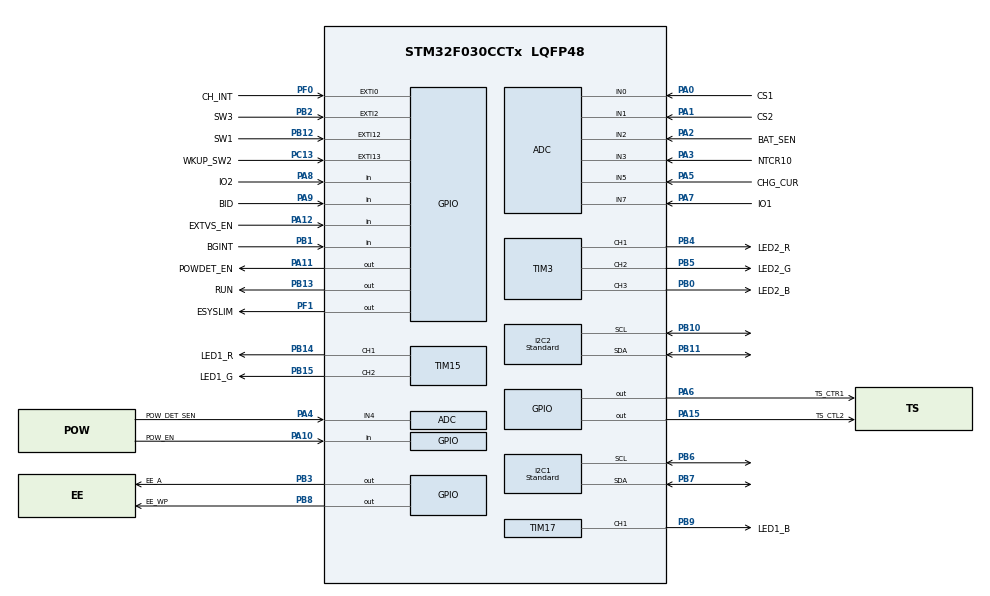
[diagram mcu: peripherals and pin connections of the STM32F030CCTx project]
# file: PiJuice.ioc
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VP_TIM17_VS_ClockSourceINT.Mode=Enable_Timer
I2C1.I2C_Speed_Mode=I2C_Standard
PF1-OSC_OUT.GPIO_ModeDefaultOutputPP=GPIO_MODE_OUTPUT_OD
PB10.Mode=I2C
Dma.I2C1_TX.4.PeriphInc=DMA_PINC_DISABLE
PB14.GPIO_Label=LED1_R
I2C1.I2C_Rise_Time=0
VP_RTC_VS_RTC_Activate.Mode=RTC_Enabled
PA6.GPIO_Label=TS_CTR1
PB13.Signal=GPIO_Output
Dma.I2C1_RX.3.Priority=DMA_PRIORITY_LOW
NVIC.RTC_IRQn=true\:0\:0\:false\:false\:true\:true\:true
NVIC.I2C1_IRQn=true\:0\:0\:false\:false\:false\:true\:false
PA4.Mode=IN4
PF0-OSC_IN.GPIO_PuPd=GPIO_PULLUP
I2C2.I2C_Speed_Mode=I2C_Standard
PB6.Signal=I2C1_SCL
PB6.Mode=I2C
Dma.I2C2_TX.2.Direction=DMA_MEMORY_TO_PERIPH
Dma.I2C1_RX.3.Mode=DMA_NORMAL
ADC.SamplingTime=ADC_SAMPLETIME_71CYCLES_5
Dma.I2C2_RX.1.Mode=DMA_NORMAL
Dma.I2C2_TX.2.Priority=DMA_PRIORITY_LOW
PF0-OSC_IN.GPIO_Label=CH_INT
PB2.Signal=GPXTI2
TIM17.Channel=TIM_CHANNEL_1
RCC.RTCClockSelection=RCC_RTCCLKSOURCE_LSE
PB12.GPIO_Label=SW1
TIM15.Channel-PWM\ Generation2\ CH2=TIM_CHANNEL_2
PB1.GPIO_Label=BGINT
PA0.Mode=IN0
PA8.Signal=GPIO_Input
PB2.GPIO_PuPd=GPIO_PULLDOWN
PA0.Signal=ADC_IN0
Mcu.Package=LQFP48
PB9.Signal=S_TIM17_CH1
PB1.Signal=GPIO_Input
I2C2.I2C_Fall_Time=0
I2C2.I2C_Rise_Time=0
PA10.Signal=GPIO_Input
VP_RTC_VS_RTC_Calendar.Mode=RTC_Calendar
Dma.I2C2_RX.1.PeriphInc=DMA_PINC_DISABLE
Dma.I2C2_RX.1.MemDataAlignment=DMA_MDATAALIGN_BYTE
Dma.I2C2_TX.2.Instance=DMA1_Channel4
PA4.GPIO_Label=POW_DET_SEN
PF1-OSC_OUT.Signal=GPIO_Output
NVIC.EXTI4_15_IRQn=true\:3\:0\:true\:false\:true\:true\:true
Dma.I2C1_RX.3.MemDataAlignment=DMA_MDATAALIGN_BYTE
TIM15.Channel-PWM\ Generation1\ CH1=TIM_CHANNEL_1
PA5.Mode=IN5
Dma.I2C1_TX.4.Priority=DMA_PRIORITY_LOW
Dma.I2C2_TX.2.MemDataAlignment=DMA_MDATAALIGN_BYTE
I2C2.I2C_Coeff_DF=0
VP_ADC_TempSens_Input.Mode=IN-TempSens
I2C1.I2C_Fall_Time=0
PC13.Signal=GPXTI13
PA9.GPIO_Label=BID
PA11.GPIO_Label=POWDET_EN
ADC.ClockPrescaler=ADC_CLOCK_ASYNC_DIV1
ADC.EnableAnalogWatchDog=true
PA3.Mode=IN3
TIM3.Channel-PWM\ Generation3\ CH3=TIM_CHANNEL_3
PB8.GPIO_Label=EE_WP
PA8.GPIO_Label=IO2
PB11.Mode=I2C
PA9.Signal=GPIO_Input
PB10.Signal=I2C2_SCL
PB14.Signal=S_TIM15_CH1
Dma.I2C2_RX.1.Instance=DMA1_Channel5
PA5.Signal=ADC_IN5
SH.S_TIM15_CH1.0=TIM15_CH1,PWM Generation1 CH1
NVIC.EXTI2_3_IRQn=true\:3\:0\:true\:false\:true\:true\:true
PA1.Mode=IN1
PB13.PinState=GPIO_PIN_SET
Dma.I2C2_RX.1.Direction=DMA_PERIPH_TO_MEMORY
PB4.GPIO_Label=LED2_R
PB15.GPIO_Label=LED1_G
PF1-OSC_OUT.GPIO_Label=ESYSLIM
PA1.GPIO_Label=CS2
ADC.EOCSelection=ADC_EOC_SEQ_CONV
PA13.Mode=Serial_Wire
PA4.Signal=ADC_IN4
PB5.Signal=S_TIM3_CH2
PA5.GPIO_Label=CHG_CUR
PA11.Signal=GPIO_Output
ProjectManager.HeapSize=0x200
SH.S_TIM17_CH1.0=TIM17_CH1,PWM Generation1 CH1
TIM3.Channel-PWM\ Generation2\ CH2=TIM_CHANNEL_2
PF0-OSC_IN.Signal=GPXTI0
PB12.GPIO_PuPd=GPIO_PULLDOWN
PB0.Signal=S_TIM3_CH3
IWDG.Window=0xFFF
Mcu.Family=STM32F0
Dma.I2C1_RX.3.Direction=DMA_PERIPH_TO_MEMORY
Dma.ADC.0.Mode=DMA_CIRCULAR
PC15OSC32_OUT.Signal=RCC_OSC32_OUT
VP_IWDG_VS_IWDG.Mode=IWDG_Activate
PA0.GPIO_Label=CS1
Dma.ADC.0.Priority=DMA_PRIORITY_LOW
PB0.GPIO_Label=LED2_B
PC13.GPIO_Label=WKUP_SW2
PC15OSC32_OUT.Mode=LSE-External-Oscillator
PB13.GPIO_Label=RUN
PB11.Signal=I2C2_SDA
PB15.Signal=S_TIM15_CH2
VP_RTC_VS_RTC_Alarm_A_Intern.Mode=Alarm A
ProjectManager.StackSize=0x400
SH.S_TIM15_CH2.0=TIM15_CH2,PWM Generation2 CH2
Dma.I2C1_TX.4.PeriphDataAlignment=DMA_PDATAALIGN_BYTE
PA15.GPIO_Label=TS_CTL2
PA12.Signal=GPIO_Input
Dma.ADC.0.PeriphInc=DMA_PINC_DISABLE
PB1.GPIO_PuPd=GPIO_NOPULL
Dma.I2C2_RX.1.MemInc=DMA_MINC_ENABLE
PB13.GPIO_ModeDefaultOutputPP=GPIO_MODE_OUTPUT_OD
Dma.ADC.0.Direction=DMA_PERIPH_TO_MEMORY
TIM3.Channel-PWM\ Generation1\ CH1=TIM_CHANNEL_1
Dma.I2C2_TX.2.MemInc=DMA_MINC_ENABLE
PA14.Mode=Serial_Wire
PA10.GPIO_Label=POW_EN
PC13.GPIO_PuPd=GPIO_PULLDOWN
PB7.Signal=I2C1_SDA
SH.S_TIM3_CH1.0=TIM3_CH1,PWM Generation1 CH1
TIM6.Period=1000 - 1
Dma.ADC.0.MemInc=DMA_MINC_ENABLE
PC14OSC32_IN.Mode=LSE-External-Oscillator
Dma.I2C1_RX.3.PeriphInc=DMA_PINC_DISABLE
PA6.Signal=GPIO_Output
Dma.ADC.0.Instance=DMA1_Channel1
PA2.GPIO_Label=BAT_SEN
IWDG.Reload=1300
PA15.Signal=GPIO_Output
Dma.ADC.0.MemDataAlignment=DMA_MDATAALIGN_HALFWORD
PB5.GPIO_Label=LED2_G
Dma.Request2=I2C2_TX
Dma.Request1=I2C2_RX
Dma.Request4=I2C1_TX
Dma.Request3=I2C1_RX
Dma.Request0=ADC
PC14OSC32_IN.Signal=RCC_OSC32_IN
PB4.Signal=S_TIM3_CH1
PA3.Signal=ADC_IN3
PB3.GPIO_Label=EE_A
I2C1.Speed=100
Dma.I2C1_TX.4.MemDataAlignment=DMA_MDATAALIGN_BYTE
PA7.Mode=IN7
PB9.GPIO_Label=LED1_B
VP_ADC_Vref_Input.Mode=IN-Vrefint
TIM6.Prescaler=8 - 1
VP_TIM6_VS_ClockSourceINT.Mode=Enable_Timer
Dma.I2C2_TX.2.Mode=DMA_NORMAL
Dma.I2C1_RX.3.PeriphDataAlignment=DMA_PDATAALIGN_BYTE
SH.S_TIM3_CH3.0=TIM3_CH3,PWM Generation3 CH3
PA12.GPIO_Label=EXTVS_EN
Dma.ADC.0.PeriphDataAlignment=DMA_PDATAALIGN_HALFWORD
NVIC.TIM6_IRQn=true\:2\:0\:true\:false\:false\:true\:false
I2C1.DualAddressMode=I2C_DUALADDRESS_ENABLE
PA13.Signal=SYS_SWDIO
Dma.I2C1_TX.4.Mode=DMA_NORMAL
Dma.I2C2_TX.2.PeriphDataAlignment=DMA_PDATAALIGN_BYTE
ProjectManager.TargetToolchain=STM32CubeIDE
NVIC.I2C2_IRQn=true\:0\:0\:false\:false\:false\:true\:false
PA1.Signal=ADC_IN1
Dma.I2C2_RX.1.PeriphDataAlignment=DMA_PDATAALIGN_BYTE
SH.S_TIM3_CH2.0=TIM3_CH2,PWM Generation2 CH2
ADC.DMAContinuousRequests=ENABLE
board=custom
Dma.I2C2_TX.2.PeriphInc=DMA_PINC_DISABLE
Dma.I2C1_TX.4.MemInc=DMA_MINC_ENABLE
PF0-OSC_IN.GPIO_ModeDefaultEXTI=GPIO_MODE_IT_FALLING
Dma.I2C1_TX.4.Instance=DMA1_Channel2
I2C2.Speed=100
Mcu.Name=STM32F030CCTx
RTC.Alarm-Alarm\ A=RTC_ALARM_A
Dma.I2C1_RX.3.Instance=DMA1_Channel3
Dma.I2C1_TX.4.Direction=DMA_MEMORY_TO_PERIPH
PA2.Signal=ADC_IN2
PB3.Signal=GPIO_Output
PA7.GPIO_Label=IO1
PB7.Mode=I2C
PA14.Signal=SYS_SWCLK
PB2.GPIO_Label=SW3
VP_RTC_VS_RTC_WakeUp_intern.Mode=WakeUp
Dma.I2C1_RX.3.MemInc=DMA_MINC_ENABLE
IWDG.Prescaler=IWDG_PRESCALER_256
PA2.Mode=IN2
PB8.Signal=GPIO_Output
Dma.I2C2_RX.1.Priority=DMA_PRIORITY_LOW
PB12.Signal=GPXTI12
PA3.GPIO_Label=NTCR10
PA7.Signal=ADC_IN7
NVIC.EXTI0_1_IRQn=true\:3\:0\:true\:false\:true\:true\:true

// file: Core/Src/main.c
/* USER CODE BEGIN Header */
/**
  ******************************************************************************
  * @file           : main.c
  * @brief          : Main program body
  ******************************************************************************
  * @attention
  *
  * <h2><center>&copy; Copyright (c) 2021 STMicroelectronics.
  * All rights reserved.</center></h2>
  *
  * This software component is licensed by ST under BSD 3-Clause license,
  * the "License"; You may not use this file except in compliance with the
  * License. You may obtain a copy of the License at:
  *                        opensource.org/licenses/BSD-3-Clause
  *
  ******************************************************************************
  */
/* USER CODE END Header */
#include "main.h"

/* USER CODE BEGIN Includes */
#include "system_conf.h"

#include "osloop.h"
#include "taskman.h"

#include "execution.h"

#include "nv.h"
#include "eeprom.h"

#include "adc.h"
/* USER CODE END Includes */

/* USER CODE BEGIN PD */

//#define DEBUGGING

/* USER CODE END PD */

ADC_HandleTypeDef hadc;
DMA_HandleTypeDef hdma_adc;

I2C_HandleTypeDef hi2c1;
I2C_HandleTypeDef hi2c2;
DMA_HandleTypeDef hdma_i2c1_rx;
DMA_HandleTypeDef hdma_i2c1_tx;
DMA_HandleTypeDef hdma_i2c2_rx;
DMA_HandleTypeDef hdma_i2c2_tx;

IWDG_HandleTypeDef hiwdg;

RTC_HandleTypeDef hrtc;

TIM_HandleTypeDef htim3;
TIM_HandleTypeDef htim6;
TIM_HandleTypeDef htim15;
TIM_HandleTypeDef htim17;

/* USER CODE BEGIN PV */

EXECUTION_State_t executionState;

/* USER CODE END PV */

void SystemClock_Config(void);
static void MX_GPIO_Init(void);
static void MX_DMA_Init(void);
static void MX_ADC_Init(void);
static void MX_RTC_Init(void);
static void MX_TIM6_Init(void);
static void MX_TIM3_Init(void);
static void MX_TIM15_Init(void);
static void MX_TIM17_Init(void);
static void MX_I2C2_Init(void);
static void MX_I2C1_Init(void);
static void MX_IWDG_Init(void);

/* USER CODE BEGIN 0 */
#include "util.h"
/* USER CODE END 0 */

int main(void)
{
  /* USER CODE BEGIN 1 */

	if ( (executionState != EXECUTION_STATE_NORMAL) &&
			(executionState != EXECUTION_STATE_UPDATE) &&
			(executionState != EXECUTION_STATE_CONFIG_RESET) )
	{
		if (__HAL_RCC_GET_FLAG(RCC_FLAG_PORRST))
		{
			executionState = EXECUTION_STATE_POWER_RESET;
		}
		else
		{
			// updating from old firmware without executionState defined
			executionState = EXECUTION_STATE_UPDATE;
		}
	}

	__HAL_RCC_CLEAR_RESET_FLAGS();
	__HAL_FLASH_PREFETCH_BUFFER_ENABLE();

  /* USER CODE END 1 */

  /* MCU Configuration--------------------------------------------------------*/

  /* Reset of all peripherals, Initializes the Flash interface and the Systick. */
  HAL_Init();

  /* USER CODE BEGIN Init */

	NV_Init();

  /* USER CODE END Init */

  /* Configure the system clock */
  SystemClock_Config();

  /* Initialize all configured peripherals */
  MX_GPIO_Init();
  MX_DMA_Init();
  MX_ADC_Init();
  MX_RTC_Init();
  MX_TIM6_Init();
  MX_TIM3_Init();
  MX_TIM15_Init();
  MX_TIM17_Init();
  MX_I2C2_Init();
  MX_I2C1_Init();
  MX_IWDG_Init();
  /* USER CODE BEGIN 2 */

	if ( (HAL_GPIO_ReadPin(IODRV_PIN_POW_EN_GPIO, IODRV_PIN_POW_EN_PIN_Pos) == GPIO_PIN_RESET) &&
			(executionState == EXECUTION_STATE_POWER_RESET)
			)
	{
		executionState = EXECUTION_STATE_POWER_ON;
	}

#ifdef DEBUGGING
	// For debugging.
	executionState = EXECUTION_STATE_POWER_RESET;
#endif

	OSLOOP_Init();

	// Wait for the adc to become ready
	while (false == ADC_GetFilterReady())
	{
		asm volatile ("nop");
	}

	TASKMAN_Init();

  /* USER CODE END 2 */

  /* Infinite loop */
  /* USER CODE BEGIN WHILE */

	executionState = EXECUTION_STATE_NORMAL; // after initialization indicate it for future wd resets

	TASKMAN_Run();

  while (1)
  {
    /* USER CODE END WHILE */

  }
}

void SystemClock_Config(void)
{
  RCC_OscInitTypeDef RCC_OscInitStruct = {0};
  RCC_ClkInitTypeDef RCC_ClkInitStruct = {0};
  RCC_PeriphCLKInitTypeDef PeriphClkInit = {0};

  /** Configure LSE Drive Capability
  */
  HAL_PWR_EnableBkUpAccess();
  __HAL_RCC_LSEDRIVE_CONFIG(RCC_LSEDRIVE_HIGH);
  /** Initializes the RCC Oscillators according to the specified parameters
  * in the RCC_OscInitTypeDef structure.
  */
  RCC_OscInitStruct.OscillatorType = RCC_OSCILLATORTYPE_HSI|RCC_OSCILLATORTYPE_HSI14
                              |RCC_OSCILLATORTYPE_LSI|RCC_OSCILLATORTYPE_LSE;
  RCC_OscInitStruct.LSEState = RCC_LSE_ON;
  RCC_OscInitStruct.HSIState = RCC_HSI_ON;
  RCC_OscInitStruct.HSI14State = RCC_HSI14_ON;
  RCC_OscInitStruct.HSICalibrationValue = RCC_HSICALIBRATION_DEFAULT;
  RCC_OscInitStruct.HSI14CalibrationValue = 16;
  RCC_OscInitStruct.LSIState = RCC_LSI_ON;
  RCC_OscInitStruct.PLL.PLLState = RCC_PLL_NONE;
  if (HAL_RCC_OscConfig(&RCC_OscInitStruct) != HAL_OK)
  {
    Error_Handler();
  }
  /** Initializes the CPU, AHB and APB buses clocks
  */
  RCC_ClkInitStruct.ClockType = RCC_CLOCKTYPE_HCLK|RCC_CLOCKTYPE_SYSCLK
                              |RCC_CLOCKTYPE_PCLK1;
  RCC_ClkInitStruct.SYSCLKSource = RCC_SYSCLKSOURCE_HSI;
  RCC_ClkInitStruct.AHBCLKDivider = RCC_SYSCLK_DIV1;
  RCC_ClkInitStruct.APB1CLKDivider = RCC_HCLK_DIV1;

  if (HAL_RCC_ClockConfig(&RCC_ClkInitStruct, FLASH_LATENCY_0) != HAL_OK)
  {
    Error_Handler();
  }
  PeriphClkInit.PeriphClockSelection = RCC_PERIPHCLK_I2C1|RCC_PERIPHCLK_RTC;
  PeriphClkInit.I2c1ClockSelection = RCC_I2C1CLKSOURCE_HSI;
  PeriphClkInit.RTCClockSelection = RCC_RTCCLKSOURCE_LSE;
  if (HAL_RCCEx_PeriphCLKConfig(&PeriphClkInit) != HAL_OK)
  {
    Error_Handler();
  }
}

static void MX_ADC_Init(void)
{

  ADC_ChannelConfTypeDef sConfig = {0};
  ADC_AnalogWDGConfTypeDef AnalogWDGConfig = {0};

  /** Configure the global features of the ADC (Clock, Resolution, Data Alignment and number of conversion)
  */
  hadc.Instance = ADC1;
  hadc.Init.ClockPrescaler = ADC_CLOCK_ASYNC_DIV1;
  hadc.Init.Resolution = ADC_RESOLUTION_12B;
  hadc.Init.DataAlign = ADC_DATAALIGN_RIGHT;
  hadc.Init.ScanConvMode = ADC_SCAN_DIRECTION_FORWARD;
  hadc.Init.EOCSelection = ADC_EOC_SEQ_CONV;
  hadc.Init.LowPowerAutoWait = DISABLE;
  hadc.Init.LowPowerAutoPowerOff = DISABLE;
  hadc.Init.ContinuousConvMode = DISABLE;
  hadc.Init.DiscontinuousConvMode = DISABLE;
  hadc.Init.ExternalTrigConv = ADC_SOFTWARE_START;
  hadc.Init.ExternalTrigConvEdge = ADC_EXTERNALTRIGCONVEDGE_NONE;
  hadc.Init.DMAContinuousRequests = ENABLE;
  hadc.Init.Overrun = ADC_OVR_DATA_PRESERVED;
  if (HAL_ADC_Init(&hadc) != HAL_OK)
  {
    Error_Handler();
  }
  /** Configure for the selected ADC regular channel to be converted.
  */
  sConfig.Channel = ADC_CHANNEL_0;
  sConfig.Rank = ADC_RANK_CHANNEL_NUMBER;
  sConfig.SamplingTime = ADC_SAMPLETIME_71CYCLES_5;
  if (HAL_ADC_ConfigChannel(&hadc, &sConfig) != HAL_OK)
  {
    Error_Handler();
  }
  /** Configure for the selected ADC regular channel to be converted.
  */
  sConfig.Channel = ADC_CHANNEL_1;
  if (HAL_ADC_ConfigChannel(&hadc, &sConfig) != HAL_OK)
  {
    Error_Handler();
  }
  /** Configure for the selected ADC regular channel to be converted.
  */
  sConfig.Channel = ADC_CHANNEL_2;
  if (HAL_ADC_ConfigChannel(&hadc, &sConfig) != HAL_OK)
  {
    Error_Handler();
  }
  /** Configure for the selected ADC regular channel to be converted.
  */
  sConfig.Channel = ADC_CHANNEL_3;
  if (HAL_ADC_ConfigChannel(&hadc, &sConfig) != HAL_OK)
  {
    Error_Handler();
  }
  /** Configure for the selected ADC regular channel to be converted.
  */
  sConfig.Channel = ADC_CHANNEL_4;
  if (HAL_ADC_ConfigChannel(&hadc, &sConfig) != HAL_OK)
  {
    Error_Handler();
  }
  /** Configure for the selected ADC regular channel to be converted.
  */
  sConfig.Channel = ADC_CHANNEL_5;
  if (HAL_ADC_ConfigChannel(&hadc, &sConfig) != HAL_OK)
  {
    Error_Handler();
  }
  /** Configure for the selected ADC regular channel to be converted.
  */
  sConfig.Channel = ADC_CHANNEL_7;
  if (HAL_ADC_ConfigChannel(&hadc, &sConfig) != HAL_OK)
  {
    Error_Handler();
  }
  /** Configure for the selected ADC regular channel to be converted.
  */
  sConfig.Channel = ADC_CHANNEL_TEMPSENSOR;
  if (HAL_ADC_ConfigChannel(&hadc, &sConfig) != HAL_OK)
  {
    Error_Handler();
  }
  /** Configure for the selected ADC regular channel to be converted.
  */
  sConfig.Channel = ADC_CHANNEL_VREFINT;
  if (HAL_ADC_ConfigChannel(&hadc, &sConfig) != HAL_OK)
  {
    Error_Handler();
  }
  /** Configure the analog watchdog
  */
  AnalogWDGConfig.WatchdogMode = ADC_ANALOGWATCHDOG_SINGLE_REG;
  AnalogWDGConfig.Channel = ADC_CHANNEL_0;
  AnalogWDGConfig.ITMode = DISABLE;
  AnalogWDGConfig.HighThreshold = 0;
  AnalogWDGConfig.LowThreshold = 0;
  if (HAL_ADC_AnalogWDGConfig(&hadc, &AnalogWDGConfig) != HAL_OK)
  {
    Error_Handler();
  }

}

static void MX_I2C1_Init(void)
{

  hi2c1.Instance = I2C1;
  hi2c1.Init.Timing = 0x2000090E;
  hi2c1.Init.OwnAddress1 = 0;
  hi2c1.Init.AddressingMode = I2C_ADDRESSINGMODE_7BIT;
  hi2c1.Init.DualAddressMode = I2C_DUALADDRESS_ENABLE;
  hi2c1.Init.OwnAddress2 = 0;
  hi2c1.Init.OwnAddress2Masks = I2C_OA2_NOMASK;
  hi2c1.Init.GeneralCallMode = I2C_GENERALCALL_DISABLE;
  hi2c1.Init.NoStretchMode = I2C_NOSTRETCH_DISABLE;
  if (HAL_I2C_Init(&hi2c1) != HAL_OK)
  {
    Error_Handler();
  }
  /** Configure Analogue filter
  */
  if (HAL_I2CEx_ConfigAnalogFilter(&hi2c1, I2C_ANALOGFILTER_ENABLE) != HAL_OK)
  {
    Error_Handler();
  }
  /** Configure Digital filter
  */
  if (HAL_I2CEx_ConfigDigitalFilter(&hi2c1, 0) != HAL_OK)
  {
    Error_Handler();
  }

}

static void MX_I2C2_Init(void)
{

  hi2c2.Instance = I2C2;
  hi2c2.Init.Timing = 0x2000090E;
  hi2c2.Init.OwnAddress1 = 0;
  hi2c2.Init.AddressingMode = I2C_ADDRESSINGMODE_7BIT;
  hi2c2.Init.DualAddressMode = I2C_DUALADDRESS_DISABLE;
  hi2c2.Init.OwnAddress2 = 0;
  hi2c2.Init.OwnAddress2Masks = I2C_OA2_NOMASK;
  hi2c2.Init.GeneralCallMode = I2C_GENERALCALL_DISABLE;
  hi2c2.Init.NoStretchMode = I2C_NOSTRETCH_DISABLE;
  if (HAL_I2C_Init(&hi2c2) != HAL_OK)
  {
    Error_Handler();
  }
  /** Configure Analogue filter
  */
  if (HAL_I2CEx_ConfigAnalogFilter(&hi2c2, I2C_ANALOGFILTER_ENABLE) != HAL_OK)
  {
    Error_Handler();
  }
  /** Configure Digital filter
  */
  if (HAL_I2CEx_ConfigDigitalFilter(&hi2c2, 0) != HAL_OK)
  {
    Error_Handler();
  }

}

static void MX_IWDG_Init(void)
{

  hiwdg.Instance = IWDG;
  hiwdg.Init.Prescaler = IWDG_PRESCALER_256;
  hiwdg.Init.Window = 0xFFF;
  hiwdg.Init.Reload = 1300;
  if (HAL_IWDG_Init(&hiwdg) != HAL_OK)
  {
    Error_Handler();
  }

}

static void MX_RTC_Init(void)
{

  RTC_TimeTypeDef sTime = {0};
  RTC_DateTypeDef sDate = {0};
  RTC_AlarmTypeDef sAlarm = {0};

  /** Initialize RTC Only
  */
  hrtc.Instance = RTC;
  hrtc.Init.HourFormat = RTC_HOURFORMAT_24;
  hrtc.Init.AsynchPrediv = 127;
  hrtc.Init.SynchPrediv = 255;
  hrtc.Init.OutPut = RTC_OUTPUT_DISABLE;
  hrtc.Init.OutPutPolarity = RTC_OUTPUT_POLARITY_HIGH;
  hrtc.Init.OutPutType = RTC_OUTPUT_TYPE_OPENDRAIN;
  if (HAL_RTC_Init(&hrtc) != HAL_OK)
  {
    Error_Handler();
  }

  /** Initialize RTC and set the Time and Date
  */
  sTime.Hours = 0x0;
  sTime.Minutes = 0x0;
  sTime.Seconds = 0x0;
  sTime.DayLightSaving = RTC_DAYLIGHTSAVING_NONE;
  sTime.StoreOperation = RTC_STOREOPERATION_RESET;
  if (HAL_RTC_SetTime(&hrtc, &sTime, RTC_FORMAT_BCD) != HAL_OK)
  {
    Error_Handler();
  }
  sDate.WeekDay = RTC_WEEKDAY_MONDAY;
  sDate.Month = RTC_MONTH_JANUARY;
  sDate.Date = 0x1;
  sDate.Year = 0x0;

  if (HAL_RTC_SetDate(&hrtc, &sDate, RTC_FORMAT_BCD) != HAL_OK)
  {
    Error_Handler();
  }
  /** Enable the Alarm A
  */
  sAlarm.AlarmTime.Hours = 0x0;
  sAlarm.AlarmTime.Minutes = 0x0;
  sAlarm.AlarmTime.Seconds = 0x0;
  sAlarm.AlarmTime.SubSeconds = 0x0;
  sAlarm.AlarmTime.DayLightSaving = RTC_DAYLIGHTSAVING_NONE;
  sAlarm.AlarmTime.StoreOperation = RTC_STOREOPERATION_RESET;
  sAlarm.AlarmMask = RTC_ALARMMASK_NONE;
  sAlarm.AlarmSubSecondMask = RTC_ALARMSUBSECONDMASK_ALL;
  sAlarm.AlarmDateWeekDaySel = RTC_ALARMDATEWEEKDAYSEL_DATE;
  sAlarm.AlarmDateWeekDay = 0x1;
  sAlarm.Alarm = RTC_ALARM_A;
  if (HAL_RTC_SetAlarm_IT(&hrtc, &sAlarm, RTC_FORMAT_BCD) != HAL_OK)
  {
    Error_Handler();
  }
  /** Enable the WakeUp
  */
  if (HAL_RTCEx_SetWakeUpTimer_IT(&hrtc, 0, RTC_WAKEUPCLOCK_RTCCLK_DIV16) != HAL_OK)
  {
    Error_Handler();
  }

}

static void MX_TIM3_Init(void)
{

  TIM_MasterConfigTypeDef sMasterConfig = {0};
  TIM_OC_InitTypeDef sConfigOC = {0};

  htim3.Instance = TIM3;
  htim3.Init.Prescaler = 0;
  htim3.Init.CounterMode = TIM_COUNTERMODE_UP;
  htim3.Init.Period = 65535;
  htim3.Init.ClockDivision = TIM_CLOCKDIVISION_DIV1;
  htim3.Init.AutoReloadPreload = TIM_AUTORELOAD_PRELOAD_DISABLE;
  if (HAL_TIM_PWM_Init(&htim3) != HAL_OK)
  {
    Error_Handler();
  }
  sMasterConfig.MasterOutputTrigger = TIM_TRGO_RESET;
  sMasterConfig.MasterSlaveMode = TIM_MASTERSLAVEMODE_DISABLE;
  if (HAL_TIMEx_MasterConfigSynchronization(&htim3, &sMasterConfig) != HAL_OK)
  {
    Error_Handler();
  }
  sConfigOC.OCMode = TIM_OCMODE_PWM1;
  sConfigOC.Pulse = 0;
  sConfigOC.OCPolarity = TIM_OCPOLARITY_HIGH;
  sConfigOC.OCFastMode = TIM_OCFAST_DISABLE;
  if (HAL_TIM_PWM_ConfigChannel(&htim3, &sConfigOC, TIM_CHANNEL_1) != HAL_OK)
  {
    Error_Handler();
  }
  if (HAL_TIM_PWM_ConfigChannel(&htim3, &sConfigOC, TIM_CHANNEL_2) != HAL_OK)
  {
    Error_Handler();
  }
  if (HAL_TIM_PWM_ConfigChannel(&htim3, &sConfigOC, TIM_CHANNEL_3) != HAL_OK)
  {
    Error_Handler();
  }
  HAL_TIM_MspPostInit(&htim3);

}

static void MX_TIM6_Init(void)
{

  htim6.Instance = TIM6;
  htim6.Init.Prescaler = 8 - 1;
  htim6.Init.CounterMode = TIM_COUNTERMODE_UP;
  htim6.Init.Period = 1000 - 1;
  htim6.Init.AutoReloadPreload = TIM_AUTORELOAD_PRELOAD_DISABLE;
  if (HAL_TIM_Base_Init(&htim6) != HAL_OK)
  {
    Error_Handler();
  }

}

static void MX_TIM15_Init(void)
{

  TIM_MasterConfigTypeDef sMasterConfig = {0};
  TIM_OC_InitTypeDef sConfigOC = {0};
  TIM_BreakDeadTimeConfigTypeDef sBreakDeadTimeConfig = {0};

  htim15.Instance = TIM15;
  htim15.Init.Prescaler = 0;
  htim15.Init.CounterMode = TIM_COUNTERMODE_UP;
  htim15.Init.Period = 65535;
  htim15.Init.ClockDivision = TIM_CLOCKDIVISION_DIV1;
  htim15.Init.RepetitionCounter = 0;
  htim15.Init.AutoReloadPreload = TIM_AUTORELOAD_PRELOAD_DISABLE;
  if (HAL_TIM_PWM_Init(&htim15) != HAL_OK)
  {
    Error_Handler();
  }
  sMasterConfig.MasterOutputTrigger = TIM_TRGO_RESET;
  sMasterConfig.MasterSlaveMode = TIM_MASTERSLAVEMODE_DISABLE;
  if (HAL_TIMEx_MasterConfigSynchronization(&htim15, &sMasterConfig) != HAL_OK)
  {
    Error_Handler();
  }
  sConfigOC.OCMode = TIM_OCMODE_PWM1;
  sConfigOC.Pulse = 0;
  sConfigOC.OCPolarity = TIM_OCPOLARITY_HIGH;
  sConfigOC.OCNPolarity = TIM_OCNPOLARITY_HIGH;
  sConfigOC.OCFastMode = TIM_OCFAST_DISABLE;
  sConfigOC.OCIdleState = TIM_OCIDLESTATE_RESET;
  sConfigOC.OCNIdleState = TIM_OCNIDLESTATE_RESET;
  if (HAL_TIM_PWM_ConfigChannel(&htim15, &sConfigOC, TIM_CHANNEL_1) != HAL_OK)
  {
    Error_Handler();
  }
  if (HAL_TIM_PWM_ConfigChannel(&htim15, &sConfigOC, TIM_CHANNEL_2) != HAL_OK)
  {
    Error_Handler();
  }
  sBreakDeadTimeConfig.OffStateRunMode = TIM_OSSR_DISABLE;
  sBreakDeadTimeConfig.OffStateIDLEMode = TIM_OSSI_DISABLE;
  sBreakDeadTimeConfig.LockLevel = TIM_LOCKLEVEL_OFF;
  sBreakDeadTimeConfig.DeadTime = 0;
  sBreakDeadTimeConfig.BreakState = TIM_BREAK_DISABLE;
  sBreakDeadTimeConfig.BreakPolarity = TIM_BREAKPOLARITY_HIGH;
  sBreakDeadTimeConfig.AutomaticOutput = TIM_AUTOMATICOUTPUT_DISABLE;
  if (HAL_TIMEx_ConfigBreakDeadTime(&htim15, &sBreakDeadTimeConfig) != HAL_OK)
  {
    Error_Handler();
  }
  HAL_TIM_MspPostInit(&htim15);

}

static void MX_TIM17_Init(void)
{

  TIM_OC_InitTypeDef sConfigOC = {0};
  TIM_BreakDeadTimeConfigTypeDef sBreakDeadTimeConfig = {0};

  htim17.Instance = TIM17;
  htim17.Init.Prescaler = 0;
  htim17.Init.CounterMode = TIM_COUNTERMODE_UP;
  htim17.Init.Period = 65535;
  htim17.Init.ClockDivision = TIM_CLOCKDIVISION_DIV1;
  htim17.Init.RepetitionCounter = 0;
  htim17.Init.AutoReloadPreload = TIM_AUTORELOAD_PRELOAD_DISABLE;
  if (HAL_TIM_Base_Init(&htim17) != HAL_OK)
  {
    Error_Handler();
  }
  if (HAL_TIM_PWM_Init(&htim17) != HAL_OK)
  {
    Error_Handler();
  }
  sConfigOC.OCMode = TIM_OCMODE_PWM1;
  sConfigOC.Pulse = 0;
  sConfigOC.OCPolarity = TIM_OCPOLARITY_HIGH;
  sConfigOC.OCNPolarity = TIM_OCNPOLARITY_HIGH;
  sConfigOC.OCFastMode = TIM_OCFAST_DISABLE;
  sConfigOC.OCIdleState = TIM_OCIDLESTATE_RESET;
  sConfigOC.OCNIdleState = TIM_OCNIDLESTATE_RESET;
  if (HAL_TIM_PWM_ConfigChannel(&htim17, &sConfigOC, TIM_CHANNEL_1) != HAL_OK)
  {
    Error_Handler();
  }
  sBreakDeadTimeConfig.OffStateRunMode = TIM_OSSR_DISABLE;
  sBreakDeadTimeConfig.OffStateIDLEMode = TIM_OSSI_DISABLE;
  sBreakDeadTimeConfig.LockLevel = TIM_LOCKLEVEL_OFF;
  sBreakDeadTimeConfig.DeadTime = 0;
  sBreakDeadTimeConfig.BreakState = TIM_BREAK_DISABLE;
  sBreakDeadTimeConfig.BreakPolarity = TIM_BREAKPOLARITY_HIGH;
  sBreakDeadTimeConfig.AutomaticOutput = TIM_AUTOMATICOUTPUT_DISABLE;
  if (HAL_TIMEx_ConfigBreakDeadTime(&htim17, &sBreakDeadTimeConfig) != HAL_OK)
  {
    Error_Handler();
  }
  HAL_TIM_MspPostInit(&htim17);

}

static void MX_DMA_Init(void)
{

  /* DMA controller clock enable */
  __HAL_RCC_DMA1_CLK_ENABLE();

}

static void MX_GPIO_Init(void)
{
  GPIO_InitTypeDef GPIO_InitStruct = {0};

  /* GPIO Ports Clock Enable */
  __HAL_RCC_GPIOC_CLK_ENABLE();
  __HAL_RCC_GPIOF_CLK_ENABLE();
  __HAL_RCC_GPIOA_CLK_ENABLE();
  __HAL_RCC_GPIOB_CLK_ENABLE();

  /*Configure GPIO pin Output Level */
  HAL_GPIO_WritePin(ESYSLIM_GPIO_Port, ESYSLIM_Pin, GPIO_PIN_RESET);

  /*Configure GPIO pin Output Level */
  HAL_GPIO_WritePin(GPIOA, TS_CTR1_Pin|POWDET_EN_Pin|TS_CTL2_Pin, GPIO_PIN_RESET);

  /*Configure GPIO pin Output Level */
  HAL_GPIO_WritePin(RUN_GPIO_Port, RUN_Pin, GPIO_PIN_SET);

  /*Configure GPIO pin Output Level */
  HAL_GPIO_WritePin(GPIOB, EE_A_Pin|EE_WP_Pin, GPIO_PIN_RESET);

  /*Configure GPIO pin : WKUP_SW2_Pin */
  GPIO_InitStruct.Pin = WKUP_SW2_Pin;
  GPIO_InitStruct.Mode = GPIO_MODE_IT_RISING;
  GPIO_InitStruct.Pull = GPIO_PULLDOWN;
  HAL_GPIO_Init(WKUP_SW2_GPIO_Port, &GPIO_InitStruct);

  /*Configure GPIO pin : CH_INT_Pin */
  GPIO_InitStruct.Pin = CH_INT_Pin;
  GPIO_InitStruct.Mode = GPIO_MODE_IT_FALLING;
  GPIO_InitStruct.Pull = GPIO_PULLUP;
  HAL_GPIO_Init(CH_INT_GPIO_Port, &GPIO_InitStruct);

  /*Configure GPIO pin : ESYSLIM_Pin */
  GPIO_InitStruct.Pin = ESYSLIM_Pin;
  GPIO_InitStruct.Mode = GPIO_MODE_OUTPUT_OD;
  GPIO_InitStruct.Pull = GPIO_NOPULL;
  GPIO_InitStruct.Speed = GPIO_SPEED_FREQ_LOW;
  HAL_GPIO_Init(ESYSLIM_GPIO_Port, &GPIO_InitStruct);

  /*Configure GPIO pins : TS_CTR1_Pin POWDET_EN_Pin TS_CTL2_Pin */
  GPIO_InitStruct.Pin = TS_CTR1_Pin|POWDET_EN_Pin|TS_CTL2_Pin;
  GPIO_InitStruct.Mode = GPIO_MODE_OUTPUT_PP;
  GPIO_InitStruct.Pull = GPIO_NOPULL;
  GPIO_InitStruct.Speed = GPIO_SPEED_FREQ_LOW;
  HAL_GPIO_Init(GPIOA, &GPIO_InitStruct);

  /*Configure GPIO pin : BGINT_Pin */
  GPIO_InitStruct.Pin = BGINT_Pin;
  GPIO_InitStruct.Mode = GPIO_MODE_INPUT;
  GPIO_InitStruct.Pull = GPIO_NOPULL;
  HAL_GPIO_Init(BGINT_GPIO_Port, &GPIO_InitStruct);

  /*Configure GPIO pins : SW3_Pin SW1_Pin */
  GPIO_InitStruct.Pin = SW3_Pin|SW1_Pin;
  GPIO_InitStruct.Mode = GPIO_MODE_IT_RISING;
  GPIO_InitStruct.Pull = GPIO_PULLDOWN;
  HAL_GPIO_Init(GPIOB, &GPIO_InitStruct);

  /*Configure GPIO pin : RUN_Pin */
  GPIO_InitStruct.Pin = RUN_Pin;
  GPIO_InitStruct.Mode = GPIO_MODE_OUTPUT_OD;
  GPIO_InitStruct.Pull = GPIO_NOPULL;
  GPIO_InitStruct.Speed = GPIO_SPEED_FREQ_LOW;
  HAL_GPIO_Init(RUN_GPIO_Port, &GPIO_InitStruct);

  /*Configure GPIO pins : IO2_Pin BID_Pin POW_EN_Pin EXTVS_EN_Pin */
  GPIO_InitStruct.Pin = IO2_Pin|BID_Pin|POW_EN_Pin|EXTVS_EN_Pin;
  GPIO_InitStruct.Mode = GPIO_MODE_INPUT;
  GPIO_InitStruct.Pull = GPIO_NOPULL;
  HAL_GPIO_Init(GPIOA, &GPIO_InitStruct);

  /*Configure GPIO pins : EE_A_Pin EE_WP_Pin */
  GPIO_InitStruct.Pin = EE_A_Pin|EE_WP_Pin;
  GPIO_InitStruct.Mode = GPIO_MODE_OUTPUT_PP;
  GPIO_InitStruct.Pull = GPIO_NOPULL;
  GPIO_InitStruct.Speed = GPIO_SPEED_FREQ_LOW;
  HAL_GPIO_Init(GPIOB, &GPIO_InitStruct);

  /* EXTI interrupt init*/
  HAL_NVIC_SetPriority(EXTI0_1_IRQn, 3, 0);
  HAL_NVIC_EnableIRQ(EXTI0_1_IRQn);

  HAL_NVIC_SetPriority(EXTI2_3_IRQn, 3, 0);
  HAL_NVIC_EnableIRQ(EXTI2_3_IRQn);

  HAL_NVIC_SetPriority(EXTI4_15_IRQn, 3, 0);
  HAL_NVIC_EnableIRQ(EXTI4_15_IRQn);

}

void Error_Handler(void)
{
  __disable_irq();
  while (1)
  {
  }
}

/************************ (C) COPYRIGHT STMicroelectronics *****END OF FILE****/
